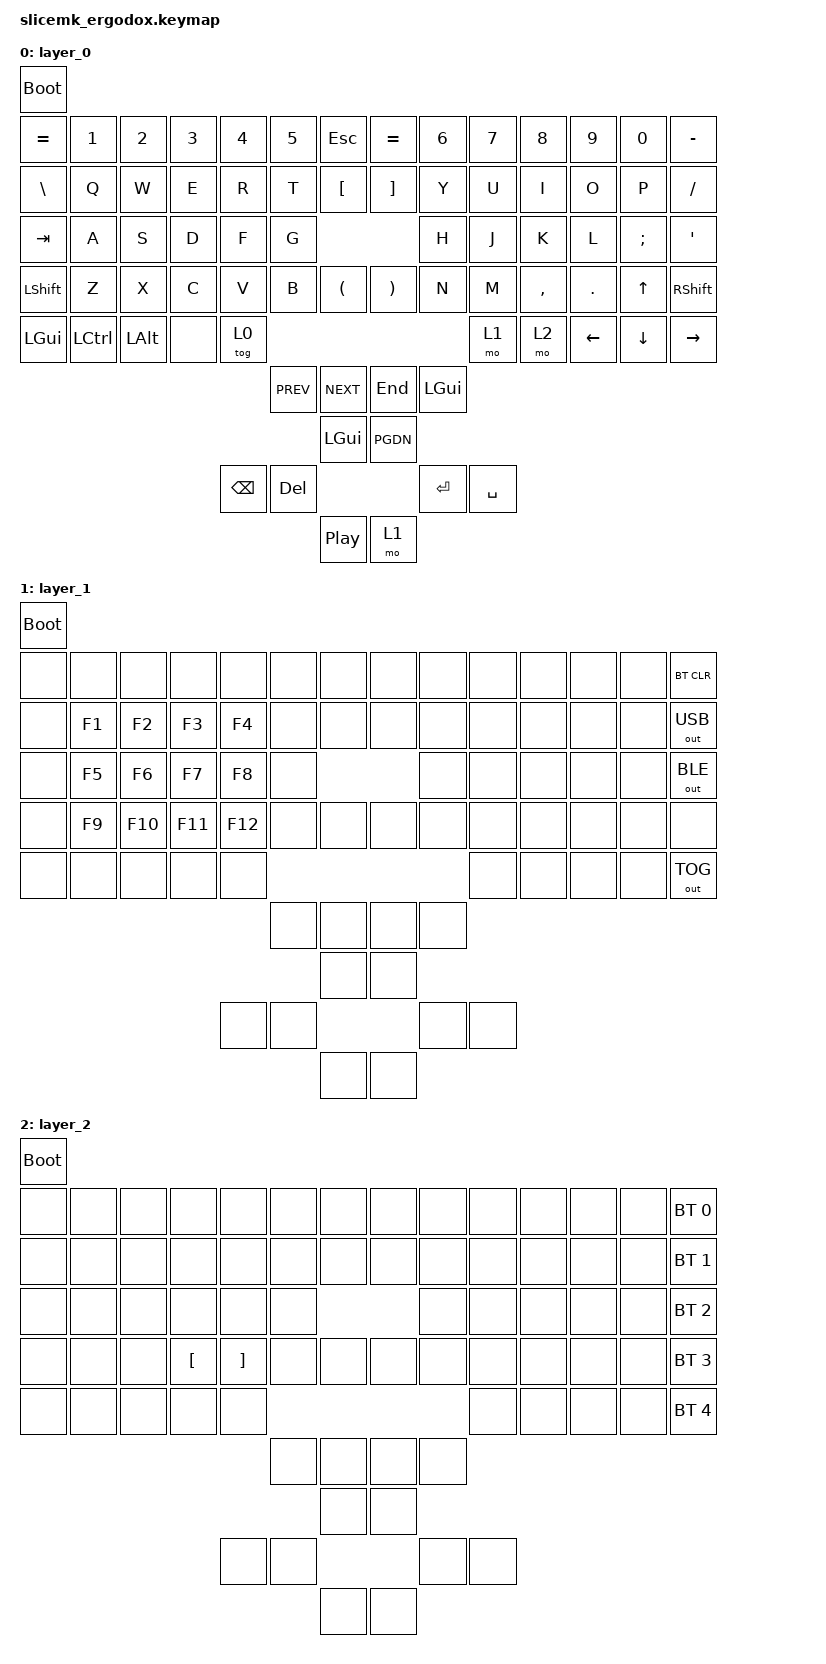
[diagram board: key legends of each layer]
#include <behaviors.dtsi>
#include <dt-bindings/zmk/bt.h>
#include <dt-bindings/zmk/keys.h>
#include <dt-bindings/zmk/outputs.h>





/ {
        keymap {
                compatible = "zmk,keymap";

                layer_0 {
                        bindings = <
    &bootloader
    &kp EQUAL   &kp NUM_1  &kp NUM_2  &kp NUM_3  &kp NUM_4  &kp NUM_5  &kp ESC   &kp EQUAL      &kp NUM_6  &kp NUM_7  &kp NUM_8  &kp NUM_9  &kp NUM_0  &kp MINUS
    &kp BSLH    &kp Q      &kp W      &kp E      &kp R      &kp T      &kp LBKT   &kp RBKT &kp Y      &kp U      &kp I      &kp O      &kp P      &kp SLASH
    &kp TAB    &kp A      &kp S      &kp D      &kp F      &kp G                            &kp H      &kp J      &kp K      &kp L      &kp SCLN   &kp APOS
    &kp LSHFT      &kp Z      &kp X      &kp C      &kp V      &kp B      &kp LPAR &kp RPAR &kp N      &kp M      &kp CMMA   &kp DOT    &kp UP   &kp RSHFT
    &kp LGUI      &kp LCTRL      &kp LALT   &none   &tog 0                                               &mo 1   &mo 2   &kp LEFT   &kp DOWN      &kp RIGHT
                                                           &kp C_PREV    &kp C_NEXT   &kp END    &kp LGUI
                                                                      &kp LGUI   &kp PGDN
                                                &kp BSPC    &kp DEL                         &kp ENTER   &kp SPACE
                                                                      &kp C_PP   &mo 1
                        >;
                };

                layer_1 {
                        bindings = <
    &bootloader
    &none      &none      &none      &none      &none      &none      &none      &none      &none      &none      &none      &none      &none      &bt BT_CLR
    &none      &kp F1     &kp F2     &kp F3     &kp F4     &none      &none      &none      &none      &none      &none      &none      &none      &out OUT_USB
    &none      &kp F5     &kp F6     &kp F7     &kp F8     &none                            &none      &none      &none      &none      &none      &out OUT_BLE
    &none      &kp F9     &kp F10    &kp F11    &kp F12    &none      &none      &none      &none      &none      &none      &none      &none      &none
    &none      &none      &none      &none      &none                                                  &none      &none      &none      &none      &out OUT_TOG
                                                           &none      &none      &none      &none
                                                                      &none      &none
                                                &none      &none                            &none      &none
                                                                      &none      &none
                        >;
                };

                layer_2 {
                        bindings = <
    &bootloader
    &none      &none      &none      &none      &none      &none      &none      &none      &none      &none      &none      &none      &none      &bt BT_SEL 0
    &none      &none      &none      &none      &none      &none      &none      &none      &none      &none      &none      &none      &none      &bt BT_SEL 1
    &none      &none      &none      &none      &none      &none                            &none      &none      &none      &none      &none      &bt BT_SEL 2
    &none      &none      &none      &kp LBKT   &kp RBKT   &none      &none      &none      &none      &none      &none      &none      &none      &bt BT_SEL 3
    &none      &none      &none      &none      &none                                                  &none      &none      &none      &none      &bt BT_SEL 4
                                                           &none      &none      &none      &none
                                                                      &none      &none
                                                &none      &none                            &none      &none
                                                                      &none      &none
                        >;
                };

        };
};
